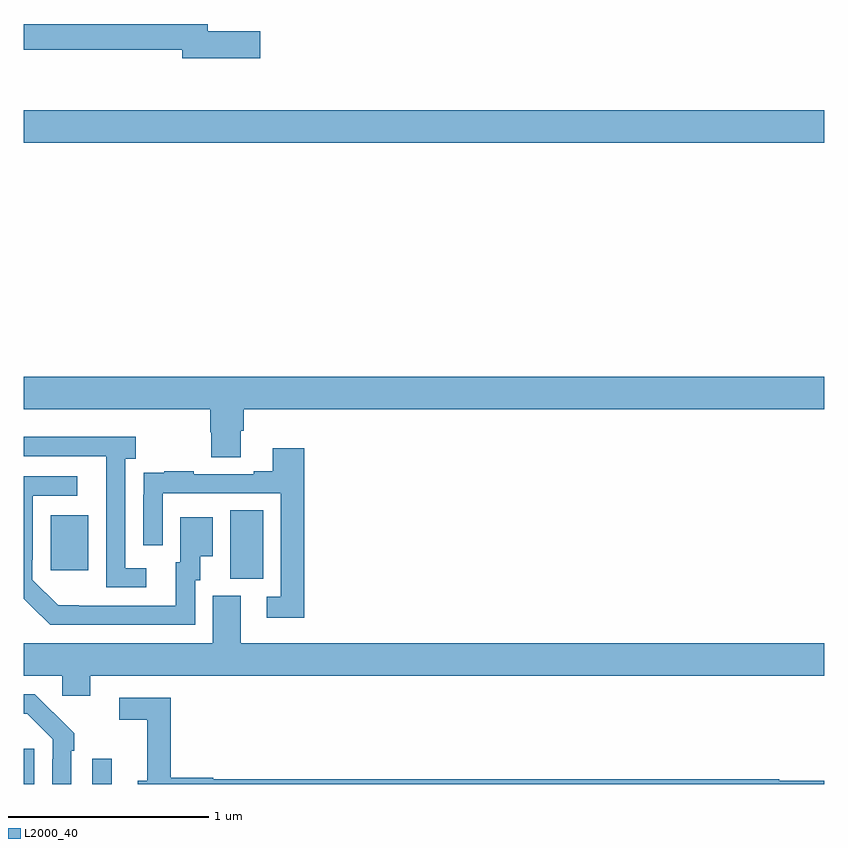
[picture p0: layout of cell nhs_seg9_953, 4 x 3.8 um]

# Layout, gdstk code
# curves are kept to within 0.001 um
import gdstk
lib = gdstk.Library(unit=1e-6, precision=1e-09)
def R(c, l, rs):  # rectangles x0, y0, x1, y1
    for r in rs: c.add(gdstk.rectangle(r[:2], r[2:], *l))
def P(c, l, *ps):  # polygons
    for p in ps: c.add(gdstk.Polygon(p, *l))
L2000_40 = (2000, 40)

nhs_seg9_953 = lib.new_cell('nhs_seg9_953')
R(nhs_seg9_953, L2000_40, [(161,1242.5,161.053,1242.676), (161.343,1242.5,161.439,1242.625), (162.032,1243.525,162.196,1243.868), (161.135,1243.569,161.323,1243.843), (161,1245.704,165,1245.868)])
P(nhs_seg9_953, L2000_40, [(162.181,1246.262),(161.92,1246.262),(161.92,1246.298),(161,1246.298),(161,1246.17),(161.792,1246.17),(161.792,1246.127),(162.181,1246.127)],
  [(162.085,1244.266),(162.098,1244.266),(162.098,1244.372),(165,1244.372),(165,1244.536),(161,1244.536),(161,1244.372),(161.933,1244.372),(161.933,1244.259),(161.938,1244.259),(161.938,1244.134),(162.085,1244.134)],
  [(161.611,1243.578),(161.508,1243.578),(161.508,1244.126),(161.56,1244.126),(161.56,1244.236),(161,1244.236),(161,1244.139),(161.411,1244.139),(161.411,1243.939),(161.412,1243.939),(161.412,1243.482),(161.611,1243.482)],
  [(162.401,1244.179),(162.245,1244.179),(162.245,1244.062),(162.149,1244.062),(162.149,1244.049),(161.849,1244.049),(161.849,1244.062),(161.701,1244.062),(161.701,1244.055),(161.599,1244.055),(161.599,1243.946),(161.598,1243.946),(161.598,1243.692),(161.694,1243.692),(161.694,1243.953),(162.285,1243.953),(162.285,1243.437),(162.213,1243.437),(162.213,1243.332),(162.401,1243.332)],
  [(161.856,1243.518),(161.881,1243.518),(161.881,1243.637),(161.944,1243.637),(161.944,1243.834),(161.783,1243.834),(161.783,1243.608),(161.759,1243.608),(161.759,1243.392),(161.172,1243.393),(161.043,1243.521),(161.043,1243.621),(161.046,1243.621),(161.046,1243.941),(161.266,1243.941),(161.266,1244.037),(161,1244.037),(161,1243.426),(161.132,1243.296),(161.856,1243.296)],
  [(161.332,1243.04),(165,1243.04),(165,1243.204),(162.085,1243.204),(162.085,1243.44),(161.945,1243.44),(161.945,1243.204),(161,1243.204),(161,1243.04),(161.193,1243.04),(161.193,1242.942),(161.332,1242.942)],
  [(161.238,1242.665),(161.253,1242.665),(161.253,1242.753),(161.056,1242.948),(161,1242.948),(161,1242.852),(161.017,1242.852),(161.145,1242.723),(161.145,1242.623),(161.142,1242.623),(161.142,1242.5),(161.238,1242.5)],
  [(165,1242.517),(164.776,1242.517),(164.776,1242.524),(161.946,1242.524),(161.946,1242.532),(161.735,1242.532),(161.735,1242.93),(161.478,1242.93),(161.478,1242.822),(161.618,1242.822),(161.618,1242.517),(161.57,1242.517),(161.57,1242.5),(165,1242.5)])

lib.write_gds('nhs_seg9_953.gds')
